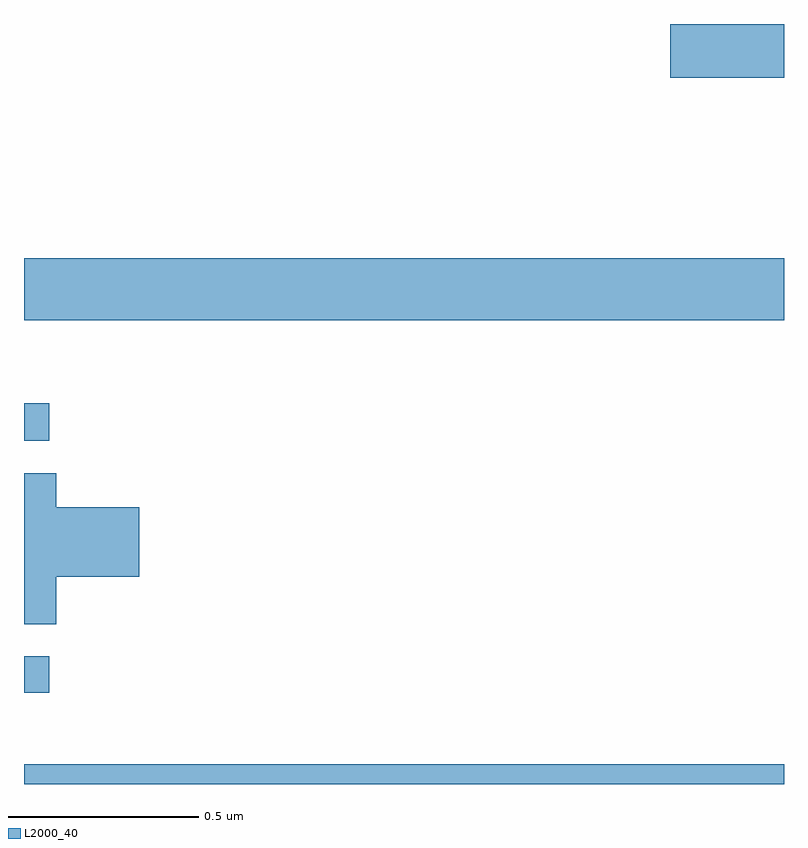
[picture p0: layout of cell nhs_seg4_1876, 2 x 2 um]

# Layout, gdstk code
import gdstk
lib = gdstk.Library(unit=1e-6, precision=1e-09)
def R(c, l, rs):  # rectangles x0, y0, x1, y1
    for r in rs: c.add(gdstk.rectangle(r[:2], r[2:], *l))
def P(c, l, *ps):  # polygons
    for p in ps: c.add(gdstk.Polygon(p, *l))
L2000_40 = (2000, 40)

nhs_seg4_1876 = lib.new_cell('nhs_seg4_1876')
R(nhs_seg4_1876, L2000_40, [(133,828.9,135,828.952), (133,829.14,133.066,829.236), (133,829.803,133.066,829.902), (133,830.12,135,830.284), (134.7,830.758,135,830.9)])
P(nhs_seg4_1876, L2000_40, [(133.085,829.445),(133.303,829.445),(133.303,829.628),(133.085,829.628),(133.085,829.718),(133,829.718),(133,829.321),(133.085,829.321)])

lib.write_gds('nhs_seg4_1876.gds')
